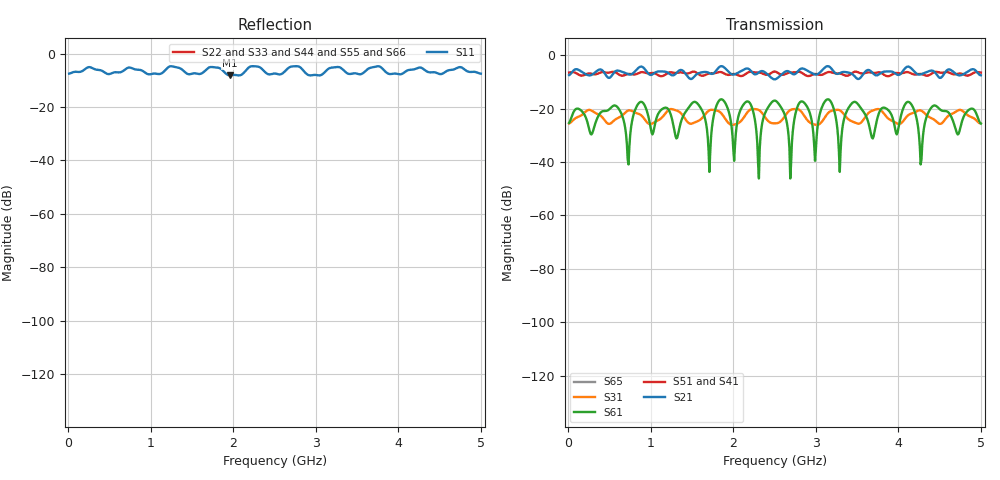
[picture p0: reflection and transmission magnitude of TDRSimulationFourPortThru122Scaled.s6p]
# MHz MA S R 50.0
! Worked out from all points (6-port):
!   500 points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, 10 MHz to 5 GHz, reference 50 ohm
!   strongest paths, dB at 10 MHz, 1.26 GHz, 2.51 GHz, 3.76 GHz, 5 GHz:
!     S21: -7.4, -7.5, -9.0, -7.3, -7.5
!     S51: -6.5, -6.5, -6.2, -6.4, -6.5
!     S41: -6.5, -6.4, -6.5, -6.3, -6.5
!     S61: -25.4, -24.3, -17.1, -22.1, -25.6
!     S31: -25.5, -20.2, -25.5, -20.2, -25.6
!     S65: -, -, -, -, -
!   lowest |S11| = -8.2 dB at 1.96 GHz (marker M1), VSWR 2.28, Z = 69.4 - j46.1 ohm
!   |S11| at or under -10 dB: nowhere
